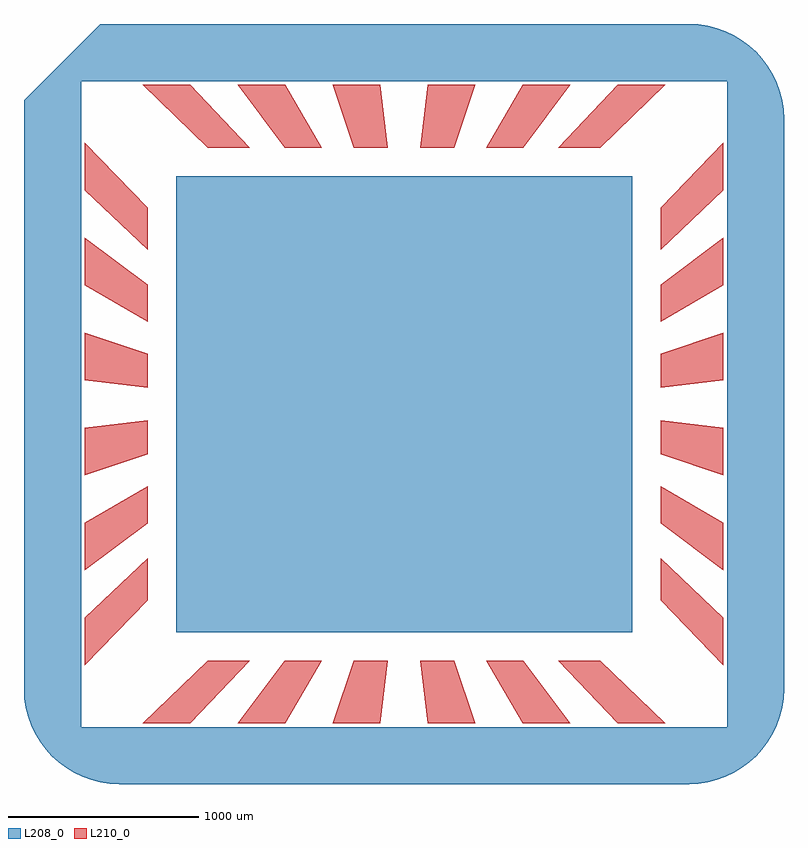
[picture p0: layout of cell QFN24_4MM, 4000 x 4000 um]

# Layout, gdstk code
import gdstk
lib = gdstk.Library(unit=1e-6, precision=1e-09)
def R(c, l, rs):  # rectangles x0, y0, x1, y1
    for r in rs: c.add(gdstk.rectangle(r[:2], r[2:], *l))
def P(c, l, *ps):  # polygons
    for p in ps: c.add(gdstk.Polygon(p, *l))
L208_0 = (208, 0)
L210_0 = (210, 0)

qfn24_4mm = lib.new_cell('QFN24_4MM')
R(qfn24_4mm, L208_0, [(-1200,-1200,1200,1200)])
P(qfn24_4mm, L208_0, [(-1500,-2000),(-1549.009,-1997.592),(-1597.545,-1990.393),(-1645.142,-1978.47),(-1691.342,-1961.94),(-1735.698,-1940.961),(-1777.785,-1915.735),(-1817.197,-1886.505),(-1853.553,-1853.553),(-1886.505,-1817.197),(-1915.735,-1777.785),(-1940.961,-1735.698),(-1961.94,-1691.342),(-1978.47,-1645.142),(-1990.393,-1597.545),(-1997.592,-1549.009),(-2000,-1500),(-2000,1600),(-1900,1700),(-1700,1700),(-1700,-1700),(1700,-1700),(1700,1700),(-1900,1700),(-1600,2000),(1500,2000),(1549.009,1997.592),(1597.545,1990.393),(1645.142,1978.47),(1691.342,1961.94),(1735.698,1940.961),(1777.785,1915.735),(1817.197,1886.505),(1853.553,1853.553),(1886.505,1817.197),(1915.735,1777.785),(1940.961,1735.698),(1961.94,1691.342),(1978.47,1645.142),(1990.393,1597.545),(1997.592,1549.009),(2000,1500),(2000,-1500),(1997.592,-1549.009),(1990.393,-1597.545),(1978.47,-1645.142),(1961.94,-1691.342),(1940.961,-1735.698),(1915.735,-1777.785),(1886.505,-1817.197),(1853.553,-1853.553),(1817.197,-1886.505),(1777.785,-1915.735),(1735.698,-1940.961),(1691.342,-1961.94),(1645.142,-1978.47),(1597.545,-1990.393),(1549.009,-1997.592),(1500,-2000)])
P(qfn24_4mm, L210_0, [(-1350,810.7),(-1680,1125),(-1680.7,1125),(-1680.7,1375),(-1680,1375),(-1350,1032.5)],
  [(-1350,433.3),(-1680,625),(-1680.7,625),(-1680.7,875),(-1680,875),(-1350,626.9)],
  [(-1350,85.1),(-1680,125),(-1680.7,125),(-1680.7,375),(-1680,375),(-1350,263.7)],
  [(-1680.7,-375),(-1680.7,-125),(-1680,-125),(-1350,-85.1),(-1350,-263.7),(-1680,-375)],
  [(-1680.7,-875),(-1680.7,-625),(-1680,-625),(-1350,-433.3),(-1350,-626.9),(-1680,-875)],
  [(-1680.7,-1375),(-1680.7,-1125),(-1680,-1125),(-1350,-810.7),(-1350,-1032.5),(-1680,-1375)],
  [(-1375,-1680.7),(-1375,-1680),(-1032.5,-1350),(-810.7,-1350),(-1125,-1680),(-1125,-1680.7)],
  [(-875,-1680.7),(-875,-1680),(-626.9,-1350),(-433.3,-1350),(-625,-1680),(-625,-1680.7)],
  [(-375,-1680.7),(-375,-1680),(-263.7,-1350),(-85.1,-1350),(-125,-1680),(-125,-1680.7)],
  [(125,-1680.7),(125,-1680),(85.1,-1350),(263.7,-1350),(375,-1680),(375,-1680.7)],
  [(625,-1680.7),(625,-1680),(433.3,-1350),(626.9,-1350),(875,-1680),(875,-1680.7)],
  [(1125,-1680.7),(1125,-1680),(810.7,-1350),(1032.5,-1350),(1375,-1680),(1375,-1680.7)],
  [(1680,-1375),(1350,-1032.5),(1350,-810.7),(1680,-1125),(1680.7,-1125),(1680.7,-1375)],
  [(1680,-875),(1350,-626.9),(1350,-433.3),(1680,-625),(1680.7,-625),(1680.7,-875)],
  [(1680,-375),(1350,-263.7),(1350,-85.1),(1680,-125),(1680.7,-125),(1680.7,-375)],
  [(1350,85.1),(1350,263.7),(1680,375),(1680.7,375),(1680.7,125),(1680,125)],
  [(1350,433.3),(1350,626.9),(1680,875),(1680.7,875),(1680.7,625),(1680,625)],
  [(1350,810.7),(1350,1032.5),(1680,1375),(1680.7,1375),(1680.7,1125),(1680,1125)],
  [(810.7,1350),(1125,1680),(1125,1680.7),(1375,1680.7),(1375,1680),(1032.5,1350)],
  [(433.3,1350),(625,1680),(625,1680.7),(875,1680.7),(875,1680),(626.9,1350)],
  [(85.1,1350),(125,1680),(125,1680.7),(375,1680.7),(375,1680),(263.7,1350)],
  [(-263.7,1350),(-375,1680),(-375,1680.7),(-125,1680.7),(-125,1680),(-85.1,1350)],
  [(-626.9,1350),(-875,1680),(-875,1680.7),(-625,1680.7),(-625,1680),(-433.3,1350)],
  [(-1032.5,1350),(-1375,1680),(-1375,1680.7),(-1125,1680.7),(-1125,1680),(-810.7,1350)])
qfn24_4mm.add(gdstk.Label('1', (-2250,1140.533), layer=211, texttype=0))
qfn24_4mm.add(gdstk.Label('2', (-2250,676.7), layer=211, texttype=0))
qfn24_4mm.add(gdstk.Label('3', (-2250,224.8), layer=211, texttype=0))
qfn24_4mm.add(gdstk.Label('4', (-2250,-224.8), layer=211, texttype=0))
qfn24_4mm.add(gdstk.Label('5', (-2250,-676.7), layer=211, texttype=0))
qfn24_4mm.add(gdstk.Label('6', (-2250,-1140.533), layer=211, texttype=0))
qfn24_4mm.add(gdstk.Label('7', (-1140.533,-2250), layer=211, texttype=0))
qfn24_4mm.add(gdstk.Label('8', (-676.7,-2250), layer=211, texttype=0))
qfn24_4mm.add(gdstk.Label('9', (-224.8,-2250), layer=211, texttype=0))
qfn24_4mm.add(gdstk.Label('10', (224.8,-2250), layer=211, texttype=0))
qfn24_4mm.add(gdstk.Label('11', (676.7,-2250), layer=211, texttype=0))
qfn24_4mm.add(gdstk.Label('12', (1140.533,-2250), layer=211, texttype=0))
qfn24_4mm.add(gdstk.Label('13', (2250,-1140.533), layer=211, texttype=0))
qfn24_4mm.add(gdstk.Label('14', (2250,-676.7), layer=211, texttype=0))
qfn24_4mm.add(gdstk.Label('15', (2250,-224.8), layer=211, texttype=0))
qfn24_4mm.add(gdstk.Label('16', (2250,224.8), layer=211, texttype=0))
qfn24_4mm.add(gdstk.Label('17', (2250,676.7), layer=211, texttype=0))
qfn24_4mm.add(gdstk.Label('18', (2250,1140.533), layer=211, texttype=0))
qfn24_4mm.add(gdstk.Label('19', (1140.533,2250), layer=211, texttype=0))
qfn24_4mm.add(gdstk.Label('20', (676.7,2250), layer=211, texttype=0))
qfn24_4mm.add(gdstk.Label('21', (224.8,2250), layer=211, texttype=0))
qfn24_4mm.add(gdstk.Label('22', (-224.8,2250), layer=211, texttype=0))
qfn24_4mm.add(gdstk.Label('23', (-676.7,2250), layer=211, texttype=0))
qfn24_4mm.add(gdstk.Label('24', (-1140.533,2250), layer=211, texttype=0))

lib.write_gds('QFN24_4MM.gds')
